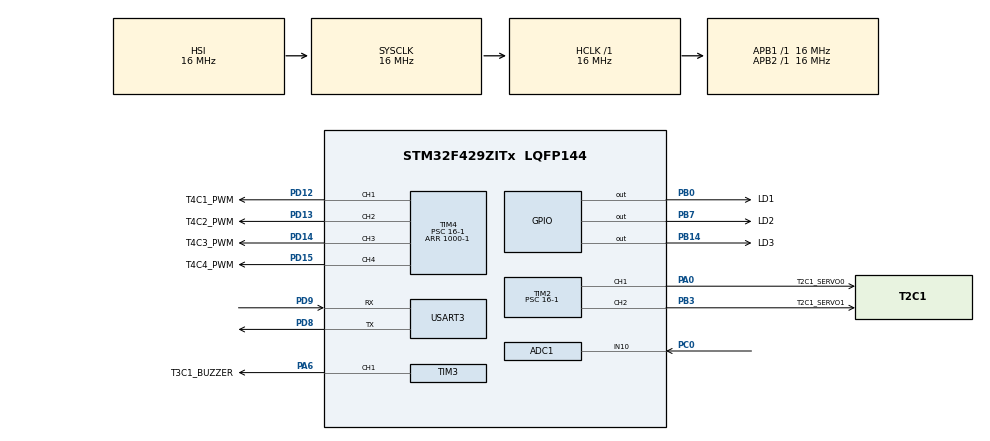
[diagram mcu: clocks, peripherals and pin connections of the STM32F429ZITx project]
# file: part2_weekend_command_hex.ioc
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Mcu.Family=STM32F4
NVIC.USART3_IRQn=true\:0\:0\:false\:true\:true\:1\:true\:true
PD12.GPIO_Label=T4C1_PWM
RCC.CortexFreq_Value=16000000
VP_ADC1_TempSens_Input.Mode=IN-TempSens
ADC1.ContinuousConvMode=ENABLE
PB14.GPIO_Label=LD3
PA0/WKUP.Signal=S_TIM2_CH1_ETR
PB0.GPIO_Label=LD1
PA6.GPIO_Label=T3C1_BUZZER
PC14/OSC32_IN.Mode=LSE-External-Oscillator
TIM2.Channel-PWM\ Generation2\ CH2=TIM_CHANNEL_2
PD9.Mode=Asynchronous
ProjectManager.StackSize=0x400
PD13.Signal=S_TIM4_CH2
NVIC.ADC_IRQn=true\:0\:0\:false\:true\:true\:2\:true\:true
PH0/OSC_IN.Mode=HSE-External-Clock-Source
TIM3.Period=10000-1
Dma.ADC1.0.Direction=DMA_PERIPH_TO_MEMORY
ADC1.InjNumberOfConversion=0
PH1/OSC_OUT.Signal=RCC_OSC_OUT
PD8.Signal=USART3_TX
NVIC.DMA2_Stream0_IRQn=true\:0\:0\:false\:false\:true\:false\:true
Dma.ADC1.0.MemDataAlignment=DMA_MDATAALIGN_WORD
RCC.AHBFreq_Value=16000000
TIM3.Channel-PWM\ Generation1\ CH1=TIM_CHANNEL_1
ADC1.Channel-0\#ChannelRegularConversion=ADC_CHANNEL_10
RCC.HSE_VALUE=25000000
TIM4.Channel-PWM\ Generation3\ CH3=TIM_CHANNEL_3
TIM3.Prescaler=16-1
Dma.ADC1.0.PeriphInc=DMA_PINC_DISABLE
NVIC.TIM2_IRQn=true\:0\:0\:false\:true\:true\:3\:true\:true
SH.S_TIM4_CH2.0=TIM4_CH2,PWM Generation2 CH2
PB7.Signal=GPIO_Output
TIM2.Channel-PWM\ Generation1\ CH1=TIM_CHANNEL_1
SH.S_TIM3_CH1.0=TIM3_CH1,PWM Generation1 CH1
TIM4.Period=1000-1
PH1/OSC_OUT.Mode=HSE-External-Clock-Source
ADC1.SamplingTime-0\#ChannelRegularConversion=ADC_SAMPLETIME_144CYCLES
PB7.GPIO_Label=LD2
PD13.GPIO_Label=T4C2_PWM
Mcu.Package=LQFP144
TIM2.Prescaler=16-1
PA6.Signal=S_TIM3_CH1
PC14/OSC32_IN.Signal=RCC_OSC32_IN
PD12.Signal=S_TIM4_CH1
TIM2.Pulse-PWM\ Generation2\ CH2=544
SH.S_TIM4_CH1.0=TIM4_CH1,PWM Generation1 CH1
Dma.ADC1.0.FIFOMode=DMA_FIFOMODE_DISABLE
TIM4.Channel-PWM\ Generation4\ CH4=TIM_CHANNEL_4
Dma.Request0=ADC1
PD15.Signal=S_TIM4_CH4
VP_TIM3_VS_ClockSourceINT.Mode=Internal
PB3.GPIO_Label=T2C1_SERVO1
TIM4.Channel-PWM\ Generation1\ CH1=TIM_CHANNEL_1
Dma.ADC1.0.Instance=DMA2_Stream0
PD15.GPIO_Label=T4C4_PWM
ADC1.Rank-0\#ChannelRegularConversion=1
SH.S_TIM4_CH4.0=TIM4_CH4,PWM Generation4 CH4
PD9.Signal=USART3_RX
PC0.Signal=ADCx_IN10
TIM2.Pulse-PWM\ Generation1\ CH1=544
SH.S_TIM2_CH2.0=TIM2_CH2,PWM Generation2 CH2
Dma.ADC1.0.PeriphDataAlignment=DMA_PDATAALIGN_WORD
TIM3.Pulse-PWM\ Generation1\ CH1=5000-1
ProjectManager.TargetToolchain=STM32CubeIDE
Dma.ADC1.0.Mode=DMA_CIRCULAR
SH.S_TIM4_CH3.0=TIM4_CH3,PWM Generation3 CH3
Dma.ADC1.0.Priority=DMA_PRIORITY_LOW
ADC1.Channel-1\#ChannelRegularConversion=ADC_CHANNEL_TEMPSENSOR
TIM4.Prescaler=16-1
PD8.Mode=Asynchronous
PB14.Signal=GPIO_Output
board=custom
RCC.VCOOutputFreq_Value=192000000
NVIC.TIM3_IRQn=true\:0\:0\:false\:true\:true\:4\:true\:true
PH0/OSC_IN.Signal=RCC_OSC_IN
TIM4.Channel-PWM\ Generation2\ CH2=TIM_CHANNEL_2
RCC.APB2Freq_Value=16000000
VP_TIM2_VS_ClockSourceINT.Mode=Internal
PA0/WKUP.GPIO_Label=T2C1_SERVO0
PD14.GPIO_Label=T4C3_PWM
ADC1.DMAContinuousRequests=ENABLE
TIM2.Period=20000-1
ADC1.NbrOfConversion=2
Mcu.Name=STM32F429ZITx
PD14.Signal=S_TIM4_CH3
PB3.Signal=S_TIM2_CH2
ADC1.SamplingTime-1\#ChannelRegularConversion=ADC_SAMPLETIME_144CYCLES
RCC.SYSCLKFreq_VALUE=16000000
ADC1.master=1
USART3.VirtualMode=VM_ASYNC
PC15/OSC32_OUT.Mode=LSE-External-Oscillator
ADC1.Rank-1\#ChannelRegularConversion=2
SH.S_TIM2_CH1_ETR.0=TIM2_CH1,PWM Generation1 CH1
Dma.ADC1.0.MemInc=DMA_MINC_ENABLE
SH.ADCx_IN10.0=ADC1_IN10,IN10
ProjectManager.HeapSize=0x200
RCC.HSI_VALUE=16000000
VP_TIM4_VS_ClockSourceINT.Mode=Internal
NVIC.PriorityGroup=NVIC_PRIORITYGROUP_4
ADC1.NbrOfConversionFlag=1
PC15/OSC32_OUT.Signal=RCC_OSC32_OUT
NVIC.TIM4_IRQn=true\:0\:0\:false\:true\:true\:5\:true\:true
RCC.APB1Freq_Value=16000000
PB0.Signal=GPIO_Output

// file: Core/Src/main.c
/* USER CODE BEGIN Header */
/**
  ******************************************************************************
  * @file           : main.c
  * @brief          : Main program body
  ******************************************************************************
  * @attention
  *
  * <h2><center>&copy; Copyright (c) 2021 STMicroelectronics.
  * All rights reserved.</center></h2>
  *
  * This software component is licensed by ST under BSD 3-Clause license,
  * the "License"; You may not use this file except in compliance with the
  * License. You may obtain a copy of the License at:
  *                        opensource.org/licenses/BSD-3-Clause
  *
  ******************************************************************************
  */
/* USER CODE END Header */
#include "main.h"
#include "adc.h"
#include "dma.h"
#include "tim.h"
#include "usart.h"
#include "gpio.h"
/* USER CODE BEGIN Includes */
#include "string.h"
#include "stdio.h"
#define _USE_MATH_DEFINES
#include "math.h"
#include "stdlib.h"
#include "stdarg.h"
#define pi M_PI
/* USER CODE END Includes */
/* USER CODE BEGIN PV */
uint8_t rx_data;
unsigned char rx_buf[100] = {'\0'};
unsigned char tx_buf[100] = {'\0'};
unsigned char* data;
unsigned char menu,ndata,checkSum;
unsigned char buf[100]={'\0'};
unsigned char buf4[100]={'\0'};
int idx=0;
uint32_t analog_reading[2];
uint32_t sysClock_Hz = 16*pow(10,6);
uint32_t min_motor = 544;
uint32_t max_motor = 2400;
int stopReceiving = 0;
unsigned char flag_ndata = 0, flag_checkSum=0;
int adc_channel;
int bitPosition[3]={0,7,14};
/* USER CODE END PV */

void SystemClock_Config(void);
static void MX_NVIC_Init(void);
/* USER CODE BEGIN PFP */
//----------------------------------------------------------------------------------------------Response
void response(unsigned char ndata_tx, ...)
{
	int size = 2+1+ndata_tx+1+2;
	unsigned char checkSum_tx = menu+ndata_tx;
	memset(tx_buf,0,sizeof(tx_buf));
	tx_buf[0]=0xAA;
	tx_buf[1]=0xAA;
	tx_buf[2]=menu;
	tx_buf[3]=ndata_tx;
	va_list list;
	va_start(list,ndata_tx);
	int* temporary = (int*)malloc(ndata_tx*sizeof(int));
	for(int i=0;i<ndata_tx;i++)
	{
		temporary[i] = va_arg(list,int);
		checkSum_tx += temporary[i];
		tx_buf[4+i]=(unsigned char)temporary[i];
	}
	va_end(list);
	tx_buf[size-2]=checkSum_tx;
	tx_buf[size-1]=0x55;
	tx_buf[size-0]=0x55;
	HAL_UART_Transmit(&huart3,(unsigned char*)tx_buf,(size+1)*sizeof(unsigned char),1000);
	memset(tx_buf,0,sizeof(tx_buf));
	fflush(stdin);fflush(stdout);
	free(temporary);
}

//-----------------------------------------------------------------------------------------Command Error
void refresh(int n)
{
	buf[0]=0xff;
	buf[1]=0xff;
	buf[2]=n;
	for(int i=0;i<6;i++){buf[3+i] = rx_buf[i];}
	HAL_UART_Transmit(&huart3,(unsigned char*)buf,10*sizeof(unsigned char),1000);
	idx = 0;
	stopReceiving=0;
	memset(tx_buf,0,sizeof(tx_buf));
	memset(rx_buf,0,sizeof(rx_buf));
	memset(buf,0,sizeof(buf));
	menu=ndata=checkSum=flag_checkSum=flag_ndata=0;
	stopReceiving=0;
}

//----------------------------------------------------------------------------------------------1)LED
void read_led_state(unsigned char LDn)
{
	int led_state;
	led_state = ((GPIOB->ODR)>>bitPosition[LDn])&1;
	response(2,LDn,led_state);
}
void write_led_state(unsigned char LDn,unsigned char state)
{
	switch(state)
	{
	case 0:
		GPIOB->ODR &=~(1<<bitPosition[LDn]);
		break;
	case 1:
		GPIOB->ODR |= 1<<bitPosition[LDn];
		break;
	}
	response(1,LDn);
}
void LED(void)
{
	if(ndata==1)read_led_state(data[0]);
	else if(ndata==2)write_led_state(data[0],data[1]);
}

//---------------------------------------------------------------------------------------------2)PWM
void write_pwm_frequency(unsigned char frequency_kHz)
{
	uint16_t prescaler = TIM4->PSC;
	uint32_t arr =  -1 + sysClock_Hz/((prescaler+1)*(int)frequency_kHz*1000);
	uint32_t ccr1,ccr2,ccr3,ccr4,prearr = TIM4->ARR;
	TIM4->ARR = arr;
	ccr1=TIM4->CCR1;	ccr2=TIM4->CCR2;	ccr3=TIM4->CCR3;	ccr4=TIM4->CCR4;
	TIM4->CCR1 = round(ccr1*(float)(arr+1)/(prearr+1));
	TIM4->CCR2 = round(ccr2*(float)(arr+1)/(prearr+1));
	TIM4->CCR3 = round(ccr3*(float)(arr+1)/(prearr+1));
	TIM4->CCR4 = round(ccr4*(float)(arr+1)/(prearr+1));
	response(1,frequency_kHz);
}
void write_pwm_duty_mode(unsigned char ch,unsigned char duty,unsigned char mode)
{
	uint32_t ccr = round(((TIM4->ARR)+1)*((int)duty/100.0));
	switch((int)ch)
	{
	case 1:
		TIM4->CCR1 = ccr;
		if((int)mode==0)	TIM4->CCMR1 &=~(1<<4);
		else TIM4->CCMR1 |=(1<<4);
		break;
	case 2:
		TIM4->CCR2 = ccr;
		if((int)mode==0)	TIM4->CCMR1 &=~(1<<12);
		else TIM4->CCMR1 |=(1<<12);
		break;
	case 3:
		TIM4->CCR3 = ccr;
		if((int)mode==0)	TIM4->CCMR2 &=~(1<<4);
		else TIM4->CCMR2 |=(1<<4);
		break;
	case 4:
		TIM4->CCR4 = ccr;
		if((int)mode==0)	TIM4->CCMR2 &=~(1<<12);
		else TIM4->CCMR2 |=(1<<12);
		break;
	}
	response(1,ch);
}
void PWM(void)
{
	if(ndata==1)write_pwm_frequency(data[0]);
	else if(ndata==3)write_pwm_duty_mode(data[0],data[1],data[2]);
}

//---------------------------------------------------------------------------------------------3)SERVO
void write_servo_angle(unsigned char ch, unsigned char angle)
{
	uint32_t ccr = (uint32_t)(min_motor+((max_motor-min_motor)/180.0)*angle);
	switch(ch)
	{
	case 0:
		TIM2->CCR1 = ccr;
		break;
	case 1:
		TIM2->CCR2 = ccr;
		break;
	}
	response(1,ch);
}
void read_servo_angle(unsigned char ch)
{
	uint32_t ccr = (ch==0)?TIM2->CCR1:TIM2->CCR2;
	unsigned char angle = (uint32_t)(180.0*(ccr-min_motor)/(max_motor-min_motor));
	response(2,ch,angle);
}
void SERVO(void)
{
	if(ndata==1)read_servo_angle(data[0]);
	else if(ndata==2)write_servo_angle(data[0],data[1]);
}

//---------------------------------------------------------------------------------------------4)BUZZER

void write_buzzer_frequency(unsigned char frequency_Hz_MSB,unsigned char frequency_Hz_LSB)
{
	int frequency_Hz;
	frequency_Hz  = ((int)frequency_Hz_MSB)<<8;
	frequency_Hz |= (int)frequency_Hz_LSB;
	uint16_t prescaler = TIM3->PSC;
	uint32_t arr = -1 + sysClock_Hz/((prescaler+1)*frequency_Hz);
	TIM3->ARR = arr;
	TIM3->CCR1 = (arr+1)/2;
	response(2,frequency_Hz_MSB,frequency_Hz_LSB);
}
void BUZZER(void)
{
	write_buzzer_frequency(data[0],data[1]);
}
//--------------------------------------------------------------------------------------------5)ADC
void read_adc_ch1_or_temperature(unsigned char ch)
{
	HAL_ADC_Start_DMA(&hadc1,&analog_reading[0],2);
	double temperature, fraction, integer;
	switch(ch)
	{
	case 0:
		response(2,analog_reading[0]/16,analog_reading[0]%16);
		break;
	case 1:
		temperature = (((double)analog_reading[1]/4095.0)*3.3-0.76)*400+25;
		fraction = temperature-(int)temperature;
		integer = temperature-fraction;
		// slope = 2.5E-3[V/C] = (V-V_25)/(T-25[C])    where V_25 = 0.76[V]
		response(2,(unsigned char)(int)round(integer),(unsigned char)(int)round(100*fraction));
		break;
	}
	HAL_ADC_Stop_DMA(&hadc1);
}
void ANALOG(void)
{
	read_adc_ch1_or_temperature(data[0]);
}

//--------------------------------------------------------------------------------------------Menu array
void (*serve_the_menu[5])(void) = {LED,PWM,SERVO,BUZZER,ANALOG};

/* USER CODE END PFP */

/* USER CODE BEGIN 0 */
//*************************************************
//*         function pointer array                *
//*************************************************

/* USER CODE END 0 */

int main(void)
{

  /* MCU Configuration--------------------------------------------------------*/

  /* Reset of all peripherals, Initializes the Flash interface and the Systick. */
  HAL_Init();

  /* Configure the system clock */
  SystemClock_Config();

  /* Initialize all configured peripherals */
  MX_GPIO_Init();
  MX_DMA_Init();
  MX_ADC1_Init();
  MX_TIM2_Init();
  MX_TIM3_Init();
  MX_TIM4_Init();
  MX_USART3_UART_Init();

  /* Initialize interrupts */
  MX_NVIC_Init();
  /* USER CODE BEGIN 2 */
  HAL_UART_Receive_IT(&huart3,(unsigned char*)&rx_data,sizeof(rx_data));
  HAL_TIM_PWM_Start(&htim4,TIM_CHANNEL_1);//pwm1
  HAL_TIM_PWM_Start(&htim4,TIM_CHANNEL_2);//pwm2
  HAL_TIM_PWM_Start(&htim4,TIM_CHANNEL_3);//pwm3
  HAL_TIM_PWM_Start(&htim4,TIM_CHANNEL_4);//pwm4
  HAL_TIM_PWM_Start(&htim2,TIM_CHANNEL_1);//servo0
  HAL_TIM_PWM_Start(&htim2,TIM_CHANNEL_2);//servo1
  HAL_TIM_PWM_Start(&htim3,TIM_CHANNEL_1);//buzzer

  /* USER CODE END 2 */

  /* Infinite loop */
  while (1)
  {

  }
}

void SystemClock_Config(void)
{
  RCC_OscInitTypeDef RCC_OscInitStruct = {0};
  RCC_ClkInitTypeDef RCC_ClkInitStruct = {0};

  /** Configure the main internal regulator output voltage
  */
  __HAL_RCC_PWR_CLK_ENABLE();
  __HAL_PWR_VOLTAGESCALING_CONFIG(PWR_REGULATOR_VOLTAGE_SCALE3);
  /** Initializes the RCC Oscillators according to the specified parameters
  * in the RCC_OscInitTypeDef structure.
  */
  RCC_OscInitStruct.OscillatorType = RCC_OSCILLATORTYPE_HSI;
  RCC_OscInitStruct.HSIState = RCC_HSI_ON;
  RCC_OscInitStruct.HSICalibrationValue = RCC_HSICALIBRATION_DEFAULT;
  RCC_OscInitStruct.PLL.PLLState = RCC_PLL_NONE;
  if (HAL_RCC_OscConfig(&RCC_OscInitStruct) != HAL_OK)
  {
    Error_Handler();
  }
  /** Initializes the CPU, AHB and APB buses clocks
  */
  RCC_ClkInitStruct.ClockType = RCC_CLOCKTYPE_HCLK|RCC_CLOCKTYPE_SYSCLK
                              |RCC_CLOCKTYPE_PCLK1|RCC_CLOCKTYPE_PCLK2;
  RCC_ClkInitStruct.SYSCLKSource = RCC_SYSCLKSOURCE_HSI;
  RCC_ClkInitStruct.AHBCLKDivider = RCC_SYSCLK_DIV1;
  RCC_ClkInitStruct.APB1CLKDivider = RCC_HCLK_DIV1;
  RCC_ClkInitStruct.APB2CLKDivider = RCC_HCLK_DIV1;

  if (HAL_RCC_ClockConfig(&RCC_ClkInitStruct, FLASH_LATENCY_0) != HAL_OK)
  {
    Error_Handler();
  }
}

/**
  * @brief NVIC Configuration.
  * @retval None
  */
static void MX_NVIC_Init(void)
{
  /* USART3_IRQn interrupt configuration */
  HAL_NVIC_SetPriority(USART3_IRQn, 0, 0);
  HAL_NVIC_EnableIRQ(USART3_IRQn);
  /* ADC_IRQn interrupt configuration */
  HAL_NVIC_SetPriority(ADC_IRQn, 0, 0);
  HAL_NVIC_EnableIRQ(ADC_IRQn);
  /* TIM2_IRQn interrupt configuration */
  HAL_NVIC_SetPriority(TIM2_IRQn, 0, 0);
  HAL_NVIC_EnableIRQ(TIM2_IRQn);
  /* TIM3_IRQn interrupt configuration */
  HAL_NVIC_SetPriority(TIM3_IRQn, 0, 0);
  HAL_NVIC_EnableIRQ(TIM3_IRQn);
  /* TIM4_IRQn interrupt configuration */
  HAL_NVIC_SetPriority(TIM4_IRQn, 0, 0);
  HAL_NVIC_EnableIRQ(TIM4_IRQn);
}

/* USER CODE BEGIN 4 */
void HAL_UART_RxCpltCallback(UART_HandleTypeDef *huart)
{
	if(huart->Instance == USART3)
	{
		//HAL_UART_Transmit(&huart3,(unsigned char*)&rx_data,sizeof(rx_data),1000);
		if(stopReceiving!=2)
		{
			rx_buf[idx++]=rx_data;
			if(rx_data==0x55 && stopReceiving==0){stopReceiving=1;}
			else if(rx_data==0x55 && stopReceiving==1)
			{
				stopReceiving=2;
				if(stopReceiving ==2)
				{
					if(idx==0){}
					else
					{
						unsigned char valid_ndata_values[5][2]={{1,2},{1,3},{1,2},{2,0},{1,0}};
						int valid_ndata_count[5]={2,2,2,1,1};
						menu=rx_buf[2];
						ndata=rx_buf[3];
						checkSum = rx_buf[idx-3];
						data = (unsigned char*)malloc(ndata*sizeof(unsigned char));
						flag_checkSum = rx_buf[2]+rx_buf[3];
						buf4[0]=menu;
						buf4[1]=ndata;
						buf4[2]=flag_checkSum;
						for(int i=0;i<ndata;i++)
						{
							data[i] = rx_buf[4+i];
							flag_checkSum+=rx_buf[4+i];
							buf4[i+3]=flag_checkSum;
						}
						for(int i=0;i<valid_ndata_count[menu-1];i++)
						{
							if(valid_ndata_values[menu-1][i]==ndata) {flag_ndata=1;}
						}
						//CHECK IF IT IS A VALID COMMAND
						     if(!(rx_buf[0]== 0xAA && rx_buf[1]==0xAA))	{refresh(1);}
						else if(menu<1 || menu>5)						{refresh(2);}
						else if(flag_ndata==0) 							{refresh(3);}
						else if(flag_checkSum!=checkSum)				{refresh(4);}
						else {serve_the_menu[menu-1]();}
						free(data);
					}
					memset(rx_buf,0,sizeof(rx_buf));
					idx=0;
					stopReceiving = 0;
					flag_checkSum=flag_ndata=0;
				}
			}
		}
		HAL_UART_Receive_IT(&huart3,(unsigned char*)&rx_data,sizeof(rx_data));
	}
}
/*
void HAL_ADC_ConvCpltCallback(ADC_HandleTypeDef* hadc)
{
	if(hadc->Instance ==ADC1)
	{
		if(is1st==1)
		{
			HAL_ADC_Start_IT(&hadc1);
			analog_reading[0] =HAL_ADC_GetValue(&hadc1);
			is1st=0;
		}
		else
		{
			analog_reading[1] =HAL_ADC_GetValue(&hadc1);
			char temp[30];
			sprintf(temp,"(%d,%d)\r\n",analog_reading[0],analog_reading[1]);
			HAL_UART_Transmit(&huart3,temp,strlen(temp),1000);
		}
	}
}
*/

/* USER CODE END 4 */

void Error_Handler(void)
{
  __disable_irq();
  while (1)
  {
  }
}

/************************ (C) COPYRIGHT STMicroelectronics *****END OF FILE****/
